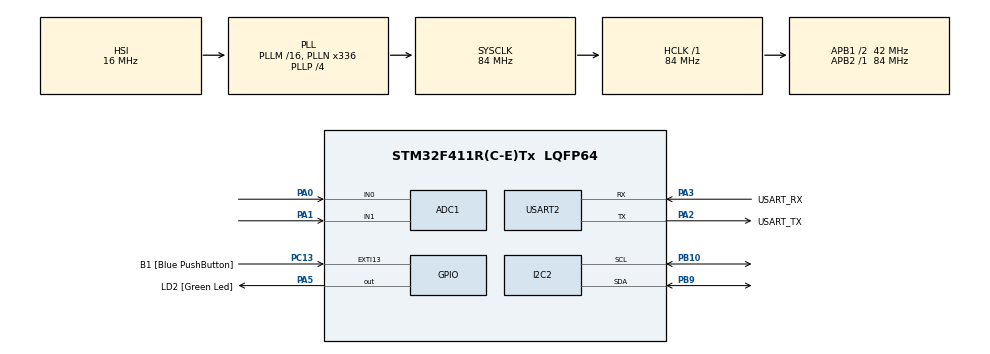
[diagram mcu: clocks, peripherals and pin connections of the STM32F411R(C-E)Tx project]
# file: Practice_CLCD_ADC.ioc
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ADC1.Channel-0\#ChannelRegularConversion=ADC_CHANNEL_0
ADC1.Channel-1\#ChannelRegularConversion=ADC_CHANNEL_1
ADC1.ContinuousConvMode=DISABLE
ADC1.DMAContinuousRequests=ENABLE
ADC1.DiscontinuousConvMode=ENABLE
ADC1.EOCSelection=ADC_EOC_SINGLE_CONV
ADC1.ExternalTrigConv=ADC_EXTERNALTRIGCONV_T2_TRGO
ADC1.NbrOfConversion=2
ADC1.NbrOfConversionFlag=1
ADC1.Rank-0\#ChannelRegularConversion=1
ADC1.Rank-1\#ChannelRegularConversion=2
ADC1.SamplingTime-0\#ChannelRegularConversion=ADC_SAMPLETIME_3CYCLES
ADC1.SamplingTime-1\#ChannelRegularConversion=ADC_SAMPLETIME_3CYCLES
ADC1.master=1
Dma.ADC1.0.Direction=DMA_PERIPH_TO_MEMORY
Dma.ADC1.0.FIFOMode=DMA_FIFOMODE_DISABLE
Dma.ADC1.0.Instance=DMA2_Stream0
Dma.ADC1.0.MemDataAlignment=DMA_MDATAALIGN_HALFWORD
Dma.ADC1.0.MemInc=DMA_MINC_ENABLE
Dma.ADC1.0.Mode=DMA_CIRCULAR
Dma.ADC1.0.PeriphDataAlignment=DMA_PDATAALIGN_HALFWORD
Dma.ADC1.0.PeriphInc=DMA_PINC_DISABLE
Dma.ADC1.0.Priority=DMA_PRIORITY_LOW
Dma.Request0=ADC1
Mcu.Family=STM32F4
Mcu.Name=STM32F411R(C-E)Tx
Mcu.Package=LQFP64
NVIC.DMA2_Stream0_IRQn=true\:0\:0\:false\:false\:true\:false\:true\:true
NVIC.PriorityGroup=NVIC_PRIORITYGROUP_0
PA0-WKUP.Signal=ADCx_IN0
PA1.Signal=ADCx_IN1
PA13.GPIO_Label=TMS
PA13.Mode=Serial_Wire
PA13.Signal=SYS_JTMS-SWDIO
PA14.GPIO_Label=TCK
PA14.Mode=Serial_Wire
PA14.Signal=SYS_JTCK-SWCLK
PA2.GPIO_Label=USART_TX
PA2.Mode=Asynchronous
PA2.Signal=USART2_TX
PA3.GPIO_Label=USART_RX
PA3.Mode=Asynchronous
PA3.Signal=USART2_RX
PA5.GPIO_Label=LD2 [Green Led]
PA5.Signal=GPIO_Output
PB10.Mode=I2C
PB10.Signal=I2C2_SCL
PB3.GPIO_Label=SWO
PB3.Signal=SYS_JTDO-SWO
PB9.Mode=I2C
PB9.Signal=I2C2_SDA
PC13-ANTI_TAMP.GPIO_Label=B1 [Blue PushButton]
PC13-ANTI_TAMP.GPIO_ModeDefaultEXTI=GPIO_MODE_IT_FALLING
PC13-ANTI_TAMP.Signal=GPXTI13
PC14-OSC32_IN.Mode=LSE-External-Oscillator
PC14-OSC32_IN.Signal=RCC_OSC32_IN
PC15-OSC32_OUT.Mode=LSE-External-Oscillator
PC15-OSC32_OUT.Signal=RCC_OSC32_OUT
PH0\ -\ OSC_IN.Mode=HSE-External-Clock-Source
PH0\ -\ OSC_IN.Signal=RCC_OSC_IN
PH1\ -\ OSC_OUT.Mode=HSE-External-Clock-Source
PH1\ -\ OSC_OUT.Signal=RCC_OSC_OUT
ProjectManager.HeapSize=0x200
ProjectManager.StackSize=0x400
ProjectManager.TargetToolchain=STM32CubeIDE
RCC.48MHZClocksFreq_Value=84000000
RCC.AHBFreq_Value=84000000
RCC.APB1CLKDivider=RCC_HCLK_DIV2
RCC.APB1Freq_Value=42000000
RCC.APB1TimFreq_Value=84000000
RCC.APB2Freq_Value=84000000
RCC.APB2TimFreq_Value=84000000
RCC.CortexFreq_Value=84000000
RCC.FLatency-AdvancedSettings=FLASH_LATENCY_2
RCC.HCLKFreq_Value=84000000
RCC.HSE_VALUE=8000000
RCC.HSI_VALUE=16000000
RCC.PLLN=336
RCC.PLLP=RCC_PLLP_DIV4
RCC.SYSCLKFreq_VALUE=84000000
RCC.SYSCLKSource=RCC_SYSCLKSOURCE_PLLCLK
RCC.VCOOutputFreq_Value=336000000
SH.ADCx_IN0.0=ADC1_IN0,IN0
SH.ADCx_IN1.0=ADC1_IN1,IN1
TIM2.Period=1000-1
TIM2.Prescaler=4200-1
TIM2.TIM_MasterOutputTrigger=TIM_TRGO_UPDATE
USART2.VirtualMode=VM_ASYNC
VP_TIM2_VS_ClockSourceINT.Mode=Internal
board=NUCLEO-F411RE

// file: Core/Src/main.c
/* USER CODE BEGIN Header */
/**
  ******************************************************************************
  * @file           : main.c
  * @brief          : Main program body
  ******************************************************************************
  * @attention
  *
  * Copyright (c) 2024 STMicroelectronics.
  * All rights reserved.
  *
  * This software is licensed under terms that can be found in the LICENSE file
  * in the root directory of this software component.
  * If no LICENSE file comes with this software, it is provided AS-IS.
  *
  ******************************************************************************
  */
/* USER CODE END Header */
#include "main.h"

ADC_HandleTypeDef hadc1;
DMA_HandleTypeDef hdma_adc1;

I2C_HandleTypeDef hi2c2;

TIM_HandleTypeDef htim2;

UART_HandleTypeDef huart2;

void SystemClock_Config(void);
static void MX_GPIO_Init(void);
static void MX_DMA_Init(void);
static void MX_USART2_UART_Init(void);
static void MX_ADC1_Init(void);
static void MX_I2C2_Init(void);
static void MX_TIM2_Init(void);

/* USER CODE BEGIN 0 */
unsigned short val[2];
/* USER CODE END 0 */

int main(void)
{

  /* MCU Configuration--------------------------------------------------------*/

  /* Reset of all peripherals, Initializes the Flash interface and the Systick. */
  HAL_Init();

  /* Configure the system clock */
  SystemClock_Config();

  /* Initialize all configured peripherals */
  MX_GPIO_Init();
  MX_DMA_Init();
  MX_USART2_UART_Init();
  MX_ADC1_Init();
  MX_I2C2_Init();
  MX_TIM2_Init();
  /* USER CODE BEGIN 2 */
  i2c_init(&hi2c2);
  i2c_scan();
  HAL_Delay(100);
  lcd_init();
  HAL_Delay(10);
  lcd_print("X & Y Print");
  ProgramStart("JoyStick_CLCD");
  HAL_ADC_Start_DMA(&hadc1, val, 2);
  HAL_TIM_Base_Start(&htim2);
  lcd_init();
  char trans_val0[16];
  char trans_val1[16];
  /* USER CODE END 2 */

  /* Infinite loop */
  while (1)
  {

    /* USER CODE BEGIN 3 */

	  /*sprintf(trans_val0, "X : %04d", val[0]);
	  sprintf(trans_val1, "Y : %04d", val[1]);*/
	  double tm = (240 * val[0] / 4096) - 40;	//or 240.0/4096.0 * val[0] - 40, 240/4096 == 0 (in int)
	  double hm = (100 * val[1] / 4096);
	  sprintf(trans_val0, "X : %-5.1f", tm);
	  sprintf(trans_val1, "Y : %-5.1f", hm);
	  lcd_printEx(trans_val0, 0); HAL_Delay(100);
	  lcd_printEx(trans_val1, 1); HAL_Delay(100);
  }
  /* USER CODE END 3 */
}

void SystemClock_Config(void)
{
  RCC_OscInitTypeDef RCC_OscInitStruct = {0};
  RCC_ClkInitTypeDef RCC_ClkInitStruct = {0};

  /** Configure the main internal regulator output voltage
  */
  __HAL_RCC_PWR_CLK_ENABLE();
  __HAL_PWR_VOLTAGESCALING_CONFIG(PWR_REGULATOR_VOLTAGE_SCALE1);

  /** Initializes the RCC Oscillators according to the specified parameters
  * in the RCC_OscInitTypeDef structure.
  */
  RCC_OscInitStruct.OscillatorType = RCC_OSCILLATORTYPE_HSI;
  RCC_OscInitStruct.HSIState = RCC_HSI_ON;
  RCC_OscInitStruct.HSICalibrationValue = RCC_HSICALIBRATION_DEFAULT;
  RCC_OscInitStruct.PLL.PLLState = RCC_PLL_ON;
  RCC_OscInitStruct.PLL.PLLSource = RCC_PLLSOURCE_HSI;
  RCC_OscInitStruct.PLL.PLLM = 16;
  RCC_OscInitStruct.PLL.PLLN = 336;
  RCC_OscInitStruct.PLL.PLLP = RCC_PLLP_DIV4;
  RCC_OscInitStruct.PLL.PLLQ = 4;
  if (HAL_RCC_OscConfig(&RCC_OscInitStruct) != HAL_OK)
  {
    Error_Handler();
  }

  /** Initializes the CPU, AHB and APB buses clocks
  */
  RCC_ClkInitStruct.ClockType = RCC_CLOCKTYPE_HCLK|RCC_CLOCKTYPE_SYSCLK
                              |RCC_CLOCKTYPE_PCLK1|RCC_CLOCKTYPE_PCLK2;
  RCC_ClkInitStruct.SYSCLKSource = RCC_SYSCLKSOURCE_PLLCLK;
  RCC_ClkInitStruct.AHBCLKDivider = RCC_SYSCLK_DIV1;
  RCC_ClkInitStruct.APB1CLKDivider = RCC_HCLK_DIV2;
  RCC_ClkInitStruct.APB2CLKDivider = RCC_HCLK_DIV1;

  if (HAL_RCC_ClockConfig(&RCC_ClkInitStruct, FLASH_LATENCY_2) != HAL_OK)
  {
    Error_Handler();
  }
}

static void MX_ADC1_Init(void)
{

  ADC_ChannelConfTypeDef sConfig = {0};

  /** Configure the global features of the ADC (Clock, Resolution, Data Alignment and number of conversion)
  */
  hadc1.Instance = ADC1;
  hadc1.Init.ClockPrescaler = ADC_CLOCK_SYNC_PCLK_DIV4;
  hadc1.Init.Resolution = ADC_RESOLUTION_12B;
  hadc1.Init.ScanConvMode = ENABLE;
  hadc1.Init.ContinuousConvMode = DISABLE;
  hadc1.Init.DiscontinuousConvMode = ENABLE;
  hadc1.Init.NbrOfDiscConversion = 1;
  hadc1.Init.ExternalTrigConvEdge = ADC_EXTERNALTRIGCONVEDGE_RISING;
  hadc1.Init.ExternalTrigConv = ADC_EXTERNALTRIGCONV_T2_TRGO;
  hadc1.Init.DataAlign = ADC_DATAALIGN_RIGHT;
  hadc1.Init.NbrOfConversion = 2;
  hadc1.Init.DMAContinuousRequests = ENABLE;
  hadc1.Init.EOCSelection = ADC_EOC_SINGLE_CONV;
  if (HAL_ADC_Init(&hadc1) != HAL_OK)
  {
    Error_Handler();
  }

  /** Configure for the selected ADC regular channel its corresponding rank in the sequencer and its sample time.
  */
  sConfig.Channel = ADC_CHANNEL_0;
  sConfig.Rank = 1;
  sConfig.SamplingTime = ADC_SAMPLETIME_3CYCLES;
  if (HAL_ADC_ConfigChannel(&hadc1, &sConfig) != HAL_OK)
  {
    Error_Handler();
  }

  /** Configure for the selected ADC regular channel its corresponding rank in the sequencer and its sample time.
  */
  sConfig.Channel = ADC_CHANNEL_1;
  sConfig.Rank = 2;
  if (HAL_ADC_ConfigChannel(&hadc1, &sConfig) != HAL_OK)
  {
    Error_Handler();
  }

}

static void MX_I2C2_Init(void)
{

  hi2c2.Instance = I2C2;
  hi2c2.Init.ClockSpeed = 100000;
  hi2c2.Init.DutyCycle = I2C_DUTYCYCLE_2;
  hi2c2.Init.OwnAddress1 = 0;
  hi2c2.Init.AddressingMode = I2C_ADDRESSINGMODE_7BIT;
  hi2c2.Init.DualAddressMode = I2C_DUALADDRESS_DISABLE;
  hi2c2.Init.OwnAddress2 = 0;
  hi2c2.Init.GeneralCallMode = I2C_GENERALCALL_DISABLE;
  hi2c2.Init.NoStretchMode = I2C_NOSTRETCH_DISABLE;
  if (HAL_I2C_Init(&hi2c2) != HAL_OK)
  {
    Error_Handler();
  }

}

static void MX_TIM2_Init(void)
{

  TIM_ClockConfigTypeDef sClockSourceConfig = {0};
  TIM_MasterConfigTypeDef sMasterConfig = {0};

  htim2.Instance = TIM2;
  htim2.Init.Prescaler = 4200-1;
  htim2.Init.CounterMode = TIM_COUNTERMODE_UP;
  htim2.Init.Period = 1000-1;
  htim2.Init.ClockDivision = TIM_CLOCKDIVISION_DIV1;
  htim2.Init.AutoReloadPreload = TIM_AUTORELOAD_PRELOAD_DISABLE;
  if (HAL_TIM_Base_Init(&htim2) != HAL_OK)
  {
    Error_Handler();
  }
  sClockSourceConfig.ClockSource = TIM_CLOCKSOURCE_INTERNAL;
  if (HAL_TIM_ConfigClockSource(&htim2, &sClockSourceConfig) != HAL_OK)
  {
    Error_Handler();
  }
  sMasterConfig.MasterOutputTrigger = TIM_TRGO_UPDATE;
  sMasterConfig.MasterSlaveMode = TIM_MASTERSLAVEMODE_DISABLE;
  if (HAL_TIMEx_MasterConfigSynchronization(&htim2, &sMasterConfig) != HAL_OK)
  {
    Error_Handler();
  }

}

static void MX_USART2_UART_Init(void)
{

  huart2.Instance = USART2;
  huart2.Init.BaudRate = 115200;
  huart2.Init.WordLength = UART_WORDLENGTH_8B;
  huart2.Init.StopBits = UART_STOPBITS_1;
  huart2.Init.Parity = UART_PARITY_NONE;
  huart2.Init.Mode = UART_MODE_TX_RX;
  huart2.Init.HwFlowCtl = UART_HWCONTROL_NONE;
  huart2.Init.OverSampling = UART_OVERSAMPLING_16;
  if (HAL_UART_Init(&huart2) != HAL_OK)
  {
    Error_Handler();
  }

}

static void MX_DMA_Init(void)
{

  /* DMA controller clock enable */
  __HAL_RCC_DMA2_CLK_ENABLE();

  /* DMA interrupt init */
  /* DMA2_Stream0_IRQn interrupt configuration */
  HAL_NVIC_SetPriority(DMA2_Stream0_IRQn, 0, 0);
  HAL_NVIC_EnableIRQ(DMA2_Stream0_IRQn);

}

static void MX_GPIO_Init(void)
{
  GPIO_InitTypeDef GPIO_InitStruct = {0};

  /* GPIO Ports Clock Enable */
  __HAL_RCC_GPIOC_CLK_ENABLE();
  __HAL_RCC_GPIOH_CLK_ENABLE();
  __HAL_RCC_GPIOA_CLK_ENABLE();
  __HAL_RCC_GPIOB_CLK_ENABLE();

  /*Configure GPIO pin Output Level */
  HAL_GPIO_WritePin(LD2_GPIO_Port, LD2_Pin, GPIO_PIN_RESET);

  /*Configure GPIO pin : B1_Pin */
  GPIO_InitStruct.Pin = B1_Pin;
  GPIO_InitStruct.Mode = GPIO_MODE_IT_FALLING;
  GPIO_InitStruct.Pull = GPIO_NOPULL;
  HAL_GPIO_Init(B1_GPIO_Port, &GPIO_InitStruct);

  /*Configure GPIO pin : LD2_Pin */
  GPIO_InitStruct.Pin = LD2_Pin;
  GPIO_InitStruct.Mode = GPIO_MODE_OUTPUT_PP;
  GPIO_InitStruct.Pull = GPIO_NOPULL;
  GPIO_InitStruct.Speed = GPIO_SPEED_FREQ_LOW;
  HAL_GPIO_Init(LD2_GPIO_Port, &GPIO_InitStruct);

}

void Error_Handler(void)
{
  __disable_irq();
  while (1)
  {
  }
}
